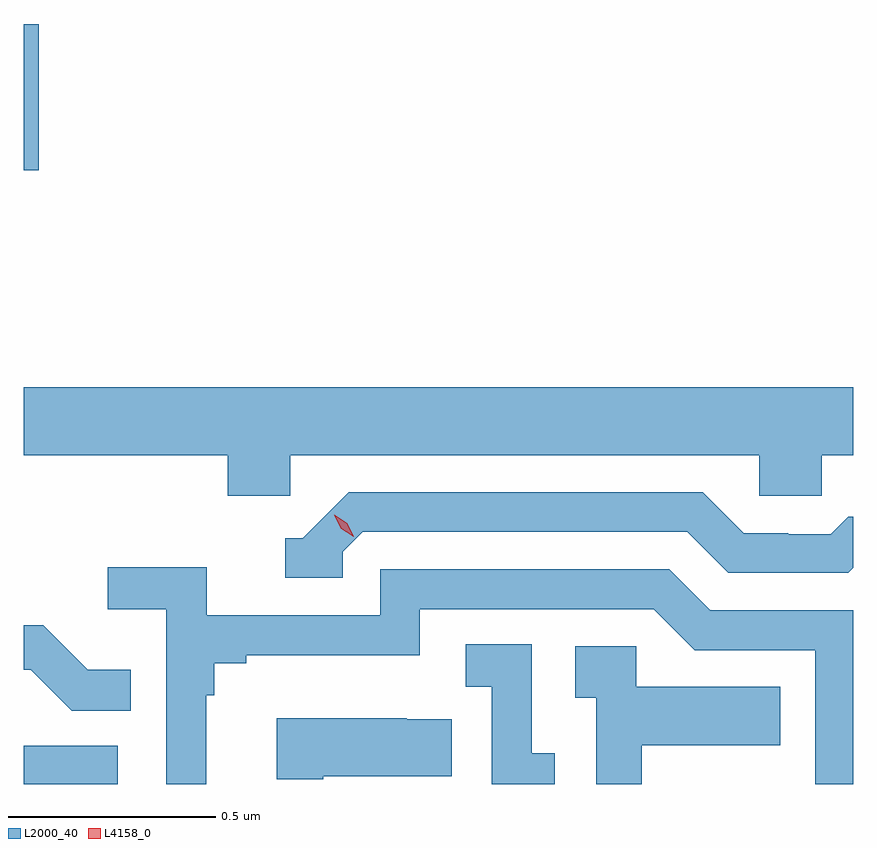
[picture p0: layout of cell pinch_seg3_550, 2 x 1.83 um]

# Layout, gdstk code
import gdstk
lib = gdstk.Library(unit=1e-6, precision=1e-09)
def R(c, l, rs):  # rectangles x0, y0, x1, y1
    for r in rs: c.add(gdstk.rectangle(r[:2], r[2:], *l))
def P(c, l, *ps):  # polygons
    for p in ps: c.add(gdstk.Polygon(p, *l))
L2000_40 = (2000, 40)
L4158_0 = (4158, 0)

pinch_seg3_550 = lib.new_cell('pinch_seg3_550')
R(pinch_seg3_550, L2000_40, [(1142.279,689.467,1142.506,689.559), (1142.279,690.947,1142.315,691.3)])
P(pinch_seg3_550, L2000_40, [(1142.922,690.26),(1144.053,690.26),(1144.053,690.162),(1144.203,690.162),(1144.203,690.26),(1144.279,690.26),(1144.279,690.424),(1142.279,690.424),(1142.279,690.26),(1142.771,690.26),(1142.771,690.162),(1142.922,690.162)],
  [(1143.048,690.027),(1143.096,690.075),(1143.879,690.075),(1143.978,689.976),(1144.267,689.976),(1144.279,689.988),(1144.279,690.112),(1144.267,690.112),(1144.225,690.069),(1144.122,690.069),(1144.122,690.072),(1144.015,690.072),(1143.916,690.171),(1143.063,690.171),(1142.952,690.06),(1142.909,690.06),(1142.909,689.964),(1143.048,689.964)],
  [(1142.719,689.681),(1142.738,689.681),(1142.738,689.758),(1142.815,689.758),(1142.815,689.777),(1143.234,689.777),(1143.234,689.889),(1143.798,689.889),(1143.897,689.79),(1144.188,689.79),(1144.188,689.467),(1144.279,689.467),(1144.279,689.886),(1143.934,689.886),(1143.835,689.985),(1143.138,689.985),(1143.138,689.874),(1142.72,689.874),(1142.72,689.99),(1142.481,689.99),(1142.481,689.888),(1142.622,689.888),(1142.622,689.467),(1142.719,689.467)],
  [(1142.537,689.743),(1142.433,689.743),(1142.326,689.85),(1142.279,689.85),(1142.279,689.742),(1142.296,689.742),(1142.394,689.644),(1142.537,689.644)],
  [(1143.559,689.541),(1143.504,689.541),(1143.504,689.804),(1143.345,689.804),(1143.345,689.701),(1143.408,689.701),(1143.408,689.467),(1143.559,689.467)],
  [(1143.769,689.561),(1144.103,689.561),(1144.103,689.701),(1143.756,689.701),(1143.756,689.799),(1143.609,689.799),(1143.609,689.675),(1143.66,689.675),(1143.66,689.467),(1143.769,689.467)],
  [(1143.001,689.486),(1143.311,689.486),(1143.311,689.623),(1143.203,689.623),(1143.203,689.626),(1142.889,689.626),(1142.889,689.479),(1143.001,689.479)])
P(pinch_seg3_550, L4158_0, [(1143.074,690.063),(1143.044,690.083),(1143.028,690.115),(1143.028,690.116),(1143.028,690.116),(1143.059,690.096),(1143.074,690.063),(1143.074,690.063)])

lib.write_gds('pinch_seg3_550.gds')
